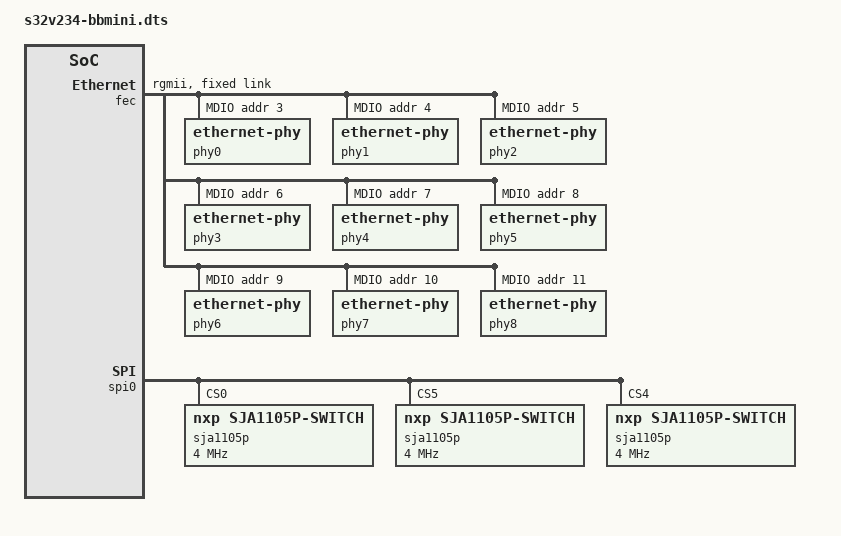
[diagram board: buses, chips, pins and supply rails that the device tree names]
/*
 * Copyright 2015-2016 Freescale Semiconductor, Inc.
 * Copyright 2016-2018 NXP
 *
 * This program is free software; you can redistribute it and/or modify
 * it under the terms of the GNU General Public License as published by
 * the Free Software Foundation; either version 2 of the License, or
 * (at your option) any later version.
 */

/dts-v1/;
#include "s32v234-evb2016q4.dtsi"

&fec {
	phy-mode = "rgmii";
	status = "okay";
	fixed-link {
		speed=<1000>;
		full-duplex;
	};
	mdio {
		#address-cells = <1>;
		#size-cells = <0>;
		phy0: ethernet-phy@3 {
			reg = <3>;
		};
		/* Mini Bluebox has 8 NXP TJA1102 PHYs. */
		phy1: ethernet-phy@4 {
			reg = <4>;
			max-speed = <100>;
		};
		phy2: ethernet-phy@5 {
			reg = <5>;
			max-speed = <100>;
		};
		phy3: ethernet-phy@6 {
			reg = <6>;
			max-speed = <100>;
		};
		phy4: ethernet-phy@7 {
			reg = <7>;
			max-speed = <100>;
		};
		phy5: ethernet-phy@8 {
			reg = <8>;
			max-speed = <100>;
		};
		phy6: ethernet-phy@9 {
			reg = <9>;
			max-speed = <100>;
		};
		phy7: ethernet-phy@10 {
			reg = <10>;
			max-speed = <100>;
		};
		phy8: ethernet-phy@11 {
			reg = <11>;
			max-speed = <100>;
		};
	};
};

&spi0 {
	#address-cells = <1>;
	#size-cells = <0>;

	sja1105p@0 {
		compatible = "nxp,sja1105p-switch";
		spi-max-frequency = <0x3D0900>;  // 4000000
		spi-cpha;
		fsl,spi-cs-sck-delay = <100>;
		fsl,spi-sck-cs-delay = <100>;

		reg = <0>;
		port-0 {
			is-host = <0x1>;
			null-phy = <0x1>;
			phy-ref = < 0 >;
		};
		port-1 {
			is-host = <0x0>;
			null-phy = <0x1>;
			phy-ref = < 0 >;
		};
		port-2 {
			is-host = <0x0>;
			null-phy = <0x1>;
			phy-ref = < 0 >;
		};
		port-3 {
			is-host = <0x0>;
			null-phy = <0x1>;
			phy-ref = < 0 >;
		};
		port-4 {
			is-host = <0x0>;
			null-phy = <0x0>;
			phy-ref = < &phy0 >;
		};
	};

	sja1105p@1 {
		compatible = "nxp,sja1105p-switch";
		spi-max-frequency = <0x3D0900>;
		spi-cpha;
		fsl,spi-cs-sck-delay = <100>;
		fsl,spi-sck-cs-delay = <100>;

		reg = <5>;
		port-0 {
			is-host = <0x1>;
			null-phy = <0x1>;
			phy-ref = < 0 >;
		};
		port-1 {
			is-host = <0x0>;
			null-phy = <0x1>;
			phy-ref = < 0 >;
		};
		port-2 {
			is-host = <0x0>;
			null-phy = <0x1>;
			phy-ref = < 0 >;
		};
		port-3 {
			is-host = <0x0>;
			null-phy = <0x1>;
			phy-ref = < 0 >;
		};
		port-4 {
			is-host = <0x0>;
			null-phy = <0x1>;
			phy-ref = < 0 >;
		};
	};

	sja1105p@2 {
		compatible = "nxp,sja1105p-switch";
		spi-max-frequency = <0x3D0900>;
		fsl,spi-cs-sck-delay = <100>;
		fsl,spi-sck-cs-delay = <100>;

		reg = <4>;
		port-0 {
			is-host = <0x1>;
			null-phy = <0x1>;
			phy-ref = < 0 >;
		};
		port-1 {
			is-host = <0x0>;
			null-phy = <0x1>;
			phy-ref = < 0 >;
		};
		port-2 {
			is-host = <0x0>;
			null-phy = <0x1>;
			phy-ref = < 0 >;
		};
		port-3 {
			is-host = <0x0>;
			null-phy = <0x1>;
			phy-ref = < 0 >;
		};
		port-4 {
			is-host = <0x0>;
			null-phy = <0x1>;
			phy-ref = < 0 >;
		};
	};
};

&pinctrl {
	status = "okay";

	s32v234-bbmini {

		pinctrl_dcu: dcugrp {
			fsl,pins = <
				S32V234_PAD_PH8__DCU_HSYNC_C1
				S32V234_PAD_PH9__DCU_VSYNC_C2
				S32V234_PAD_PH10__DCU_DE_C3
				S32V234_PAD_PH12__DCU_PCLK_D1_DSE_34
				S32V234_PAD_PH13__DCU_R0_D2
				S32V234_PAD_PH14__DCU_R1_D3
				S32V234_PAD_PH15__DCU_R2_D4
				S32V234_PAD_PJ0__DCU_R3_D5
				S32V234_PAD_PJ1__DCU_R4_D6
				S32V234_PAD_PJ2__DCU_R5_D7
				S32V234_PAD_PJ3__DCU_R6_D8
				S32V234_PAD_PJ4__DCU_R7_D9
				S32V234_PAD_PJ5__DCU_G0_D10
				S32V234_PAD_PJ6__DCU_G1_D11
				S32V234_PAD_PJ7__DCU_G2_D12
				S32V234_PAD_PJ8__DCU_G3_D13
				S32V234_PAD_PJ9__DCU_G4_D14
				S32V234_PAD_PJ10__DCU_G5_D15
				S32V234_PAD_PJ11__DCU_G6_D16
				S32V234_PAD_PJ12__DCU_G7_D17
				S32V234_PAD_PJ13__DCU_B0_D18
				S32V234_PAD_PJ14__DCU_B1_D19
				S32V234_PAD_PJ15__DCU_B2_D20
				S32V234_PAD_PK0__DCU_B3_D21
				S32V234_PAD_PK1__DCU_B4_D22
				S32V234_PAD_PK2__DCU_B5_D23
				S32V234_PAD_PK3__DCU_B6_D24
				S32V234_PAD_PK4__DCU_B7_D25
				>;
		};
	};
};
